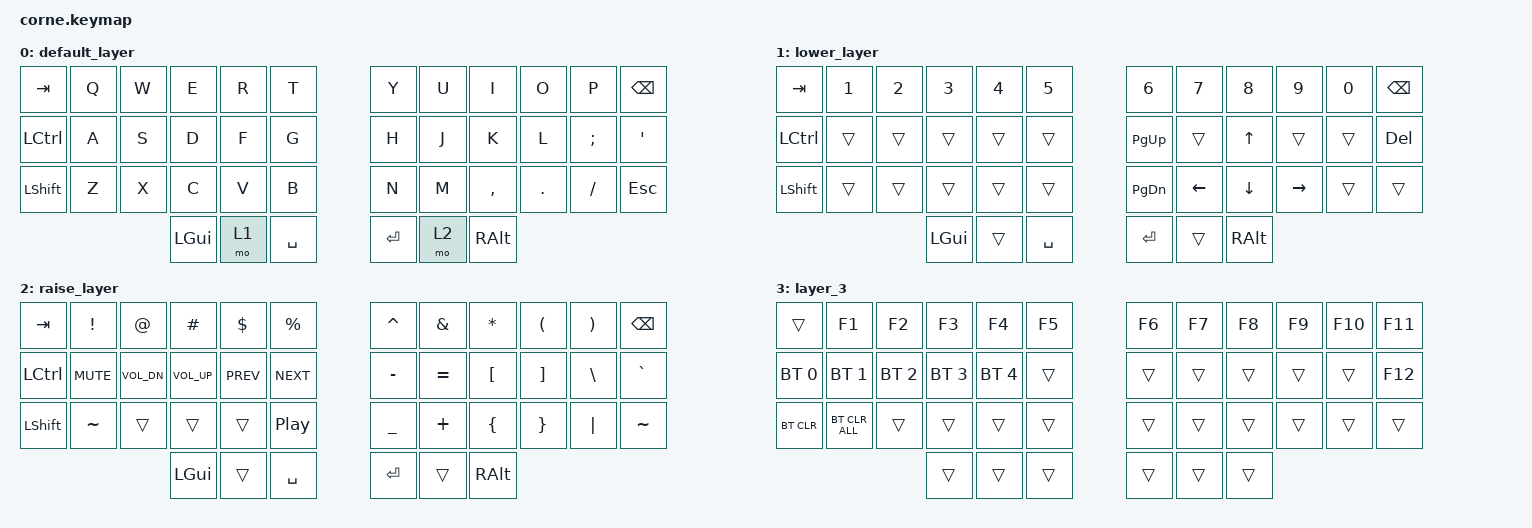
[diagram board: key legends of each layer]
/*
 * Copyright (c) 2020 The ZMK Contributors
 *
 * SPDX-License-Identifier: MIT
 */

#include <behaviors.dtsi>
#include <dt-bindings/zmk/bt.h>
#include <dt-bindings/zmk/keys.h>

/ {
    combos {
        compatible = "zmk,combos";

        combo_esc {
            timeout-ms = <50>;
            key-positions = <0 1>;
            bindings = <&kp ESC>;
        };
    };

    behaviors {
        ss_hs_modmorph: ss_hs_modmorph {
            compatible = "zmk,behavior-mod-morph";
            label = "SS_HS_MODMORPH";
            bindings = <&kp M>, <&kp RIGHT_BRACKET>;

            #binding-cells = <0>;
            mods = <(MOD_LSFT|MOD_RSFT)>;
        };

        kh_hs_tapdance: kh_hs_tapdance {
            compatible = "zmk,behavior-tap-dance";
            label = "KH_HS_TAPDANCE";
            #binding-cells = <0>;
            tapping-term-ms = <200>;
            bindings = <&kp LEFT_BRACKET>, <&kp RIGHT_BRACKET>;
        };

        hrm: hrm {
            compatible = "zmk,behavior-hold-tap";
            #binding-cells = <2>;
            flavor = "tap-preferred";
            tapping-term-ms = <200>;
            quick-tap-ms = <200>;
            require-prior-idle-ms = <125>;
            bindings = <&kp>, <&kp>;
        };
    };

    keymap {
        compatible = "zmk,keymap";

        default_layer {
            // -----------------------------------------------------------------------------------------
            // |  TAB |  Q  |  W  |  E  |  R  |  T  |   |  Y  |  U   |  I  |  O  |  P  | BKSP |
            // | CTRL |  A  |  S  |  D  |  F  |  G  |   |  H  |  J   |  K  |  L  |  ;  |  '   |
            // | SHFT |  Z  |  X  |  C  |  V  |  B  |   |  N  |  M   |  ,  |  .  |  /  | ESC  |
            //                    | GUI | LWR | SPC |   | ENT | RSE  | ALT |

            bindings = <
&kp TAB    &kp Q  &kp W  &kp E     &kp R  &kp T        &kp Y    &kp U  &kp I      &kp O    &kp P     &kp BSPC
&kp LCTRL  &kp A  &kp S  &kp D     &kp F  &kp G        &kp H    &kp J  &kp K      &kp L    &kp SEMI  &kp SQT
&kp LSHFT  &kp Z  &kp X  &kp C     &kp V  &kp B        &kp N    &kp M  &kp COMMA  &kp DOT  &kp FSLH  &kp ESC
                         &kp LGUI  &mo 1  &kp SPACE    &kp RET  &mo 2  &kp RALT
            >;
        };

        lower_layer {
            // -----------------------------------------------------------------------------------------
            // |  TAB |  1  |  2  |  3  |  4  |  5  |   |  6  |  7  |  8  |  9  |  0  | BKSP |
            // | BTCLR| BT1 | BT2 | BT3 | BT4 | BT5 |   | LFT | DWN |  UP | RGT |     |      |
            // | SHFT |     |     |     |     |     |   |     |     |     |     |     |      |
            //                    | GUI |     | SPC |   | ENT |     | ALT |

            bindings = <
&kp TAB           &kp N1  &kp N2  &kp N3    &kp N4  &kp N5       &kp N6     &kp N7    &kp N8    &kp N9     &kp N0  &kp BSPC
&kp LEFT_CONTROL  &trans  &trans  &trans    &trans  &trans       &kp PG_UP  &trans    &kp UP    &trans     &trans  &kp DEL
&kp LSHFT         &trans  &trans  &trans    &trans  &trans       &kp PG_DN  &kp LEFT  &kp DOWN  &kp RIGHT  &trans  &trans
                                  &kp LGUI  &trans  &kp SPACE    &kp RET    &trans    &kp RALT
            >;
        };

        raise_layer {
            // -----------------------------------------------------------------------------------------
            // |  TAB |  !  |  @  |  #  |  $  |  %  |   |  ^  |  &  |  *  |  (  |  )  | BKSP |
            // | CTRL |     |     |     |     |     |   |  -  |  =  |  [  |  ]  |  \  |  `   |
            // | SHFT |     |     |     |     |     |   |  _  |  +  |  {  |  }  | "|" |  ~   |
            //                    | GUI |     | SPC |   | ENT |     | ALT |

            bindings = <
&kp TAB    &kp EXCL    &kp AT        &kp HASH      &kp DLLR    &kp PRCNT           &kp CARET  &kp AMPS   &kp ASTRK  &kp LPAR  &kp RPAR  &kp BSPC
&kp LCTRL  &kp K_MUTE  &kp C_VOL_DN  &kp C_VOL_UP  &kp C_PREV  &kp C_NEXT          &kp MINUS  &kp EQUAL  &kp LBKT   &kp RBKT  &kp BSLH  &kp GRAVE
&kp LSHFT  &kp TILDE   &trans        &trans        &trans      &kp C_PLAY_PAUSE    &kp UNDER  &kp PLUS   &kp LBRC   &kp RBRC  &kp PIPE  &kp TILDE
                                     &kp LGUI      &trans      &kp SPACE           &kp RET    &trans     &kp RALT
            >;
        };

        layer_3 {
            bindings = <
&trans        &kp F1          &kp F2        &kp F3        &kp F4        &kp F5    &kp F6  &kp F7  &kp F8  &kp F9  &kp F10  &kp F11
&bt BT_SEL 0  &bt BT_SEL 1    &bt BT_SEL 2  &bt BT_SEL 3  &bt BT_SEL 4  &trans    &trans  &trans  &trans  &trans  &trans   &kp F12
&bt BT_CLR    &bt BT_CLR_ALL  &trans        &trans        &trans        &trans    &trans  &trans  &trans  &trans  &trans   &trans
                                            &trans        &trans        &trans    &trans  &trans  &trans
            >;
        };
    };

    conditional_layers {
        compatible = "zmk,conditional-layers";

        L3 {
            if-layers = <1 2>;
            then-layer = <3>;
        };
    };
};
